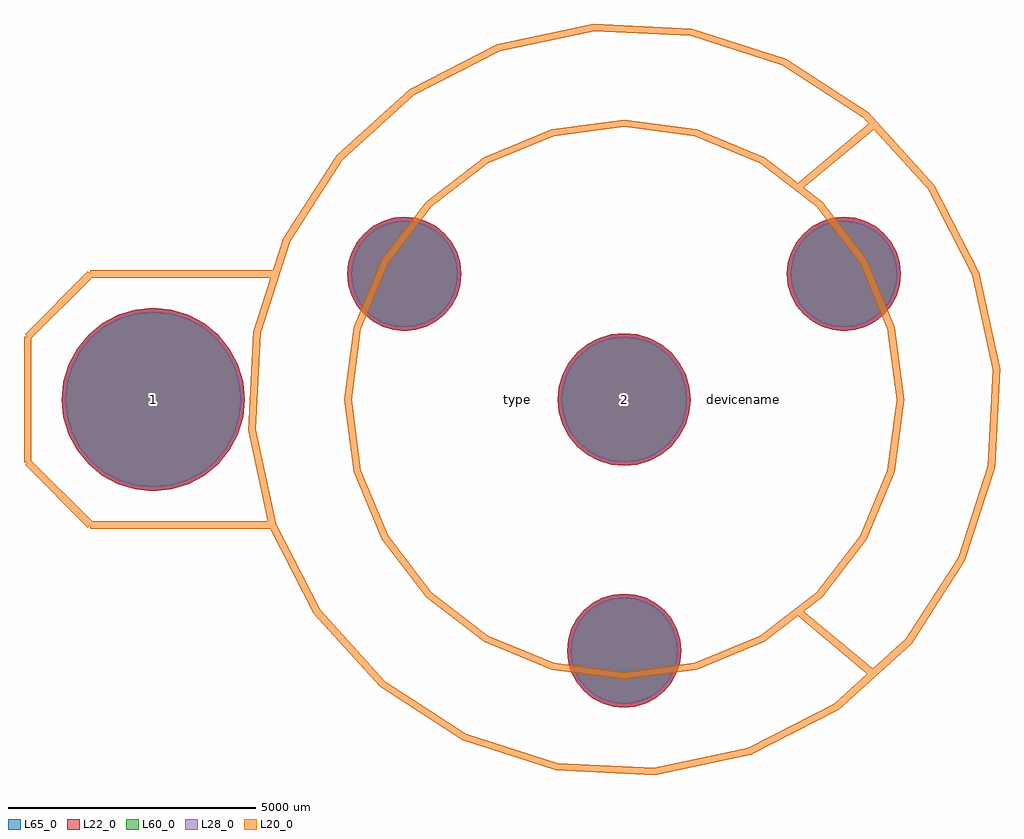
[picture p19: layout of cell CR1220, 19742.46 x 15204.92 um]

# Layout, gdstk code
import gdstk
lib = gdstk.Library(unit=1e-6, precision=1e-09)
def P(c, l, *ps):  # polygons
    for p in ps: c.add(gdstk.Polygon(p, *l))
L20_0 = (20, 0)
L22_0 = (22, 0)
L28_0 = (28, 0)
L60_0 = (60, 0)
L65_0 = (65, 0)

cr1220 = lib.new_cell('CR1220')
P(cr1220, L22_0, [(1154.5,2540),(1132.317,2765.232),(1066.619,2981.808),(959.932,3181.406),(816.355,3356.355),(641.406,3499.932),(441.808,3606.619),(225.232,3672.317),(0,3694.5),(-225.232,3672.317),(-441.808,3606.619),(-641.406,3499.932),(-816.355,3356.355),(-959.932,3181.406),(-1066.619,2981.808),(-1132.317,2765.232),(-1154.5,2540),(-1132.317,2314.768),(-1066.619,2098.192),(-959.932,1898.594),(-816.355,1723.645),(-641.406,1580.068),(-441.808,1473.381),(-225.232,1407.683),(0,1385.5),(225.232,1407.683),(441.808,1473.381),(641.406,1580.068),(816.355,1723.645),(959.932,1898.594),(1066.619,2098.192),(1132.317,2314.768)],
  [(10044.5,2540),(10022.317,2765.232),(9956.619,2981.808),(9849.932,3181.406),(9706.355,3356.355),(9531.406,3499.932),(9331.808,3606.619),(9115.232,3672.317),(8890,3694.5),(8664.768,3672.317),(8448.192,3606.619),(8248.594,3499.932),(8073.645,3356.355),(7930.068,3181.406),(7823.381,2981.808),(7757.683,2765.232),(7735.5,2540),(7757.683,2314.768),(7823.381,2098.192),(7930.068,1898.594),(8073.645,1723.645),(8248.594,1580.068),(8448.192,1473.381),(8664.768,1407.683),(8890,1385.5),(9115.232,1407.683),(9331.808,1473.381),(9531.406,1580.068),(9706.355,1723.645),(9849.932,1898.594),(9956.619,2098.192),(10022.317,2314.768)],
  [(5599.5,-5080),(5577.317,-4854.768),(5511.619,-4638.192),(5404.932,-4438.594),(5261.355,-4263.645),(5086.406,-4120.068),(4886.808,-4013.381),(4670.232,-3947.683),(4445,-3925.5),(4219.768,-3947.683),(4003.192,-4013.381),(3803.594,-4120.068),(3628.645,-4263.645),(3485.068,-4438.594),(3378.381,-4638.192),(3312.683,-4854.768),(3290.5,-5080),(3312.683,-5305.232),(3378.381,-5521.808),(3485.068,-5721.406),(3628.645,-5896.355),(3803.594,-6039.932),(4003.192,-6146.619),(4219.768,-6212.317),(4445,-6234.5),(4670.232,-6212.317),(4886.808,-6146.619),(5086.406,-6039.932),(5261.355,-5896.355),(5404.932,-5721.406),(5511.619,-5521.808),(5577.317,-5305.232)],
  [(5790,0),(5764.156,262.396),(5687.618,514.709),(5563.327,747.242),(5396.059,951.059),(5192.242,1118.327),(4959.709,1242.618),(4707.396,1319.156),(4445,1345),(4182.604,1319.156),(3930.291,1242.618),(3697.758,1118.327),(3493.941,951.059),(3326.673,747.242),(3202.382,514.709),(3125.844,262.396),(3100,0),(3125.844,-262.396),(3202.382,-514.709),(3326.673,-747.242),(3493.941,-951.059),(3697.758,-1118.327),(3930.291,-1242.618),(4182.604,-1319.156),(4445,-1345),(4707.396,-1319.156),(4959.709,-1242.618),(5192.242,-1118.327),(5396.059,-951.059),(5563.327,-747.242),(5687.618,-514.709),(5764.156,-262.396)],
  [(-3227,0),(-3262.605,361.502),(-3368.051,709.112),(-3539.287,1029.472),(-3769.731,1310.269),(-4050.528,1540.713),(-4370.888,1711.949),(-4718.498,1817.395),(-5080,1853),(-5441.502,1817.395),(-5789.112,1711.949),(-6109.472,1540.713),(-6390.269,1310.269),(-6620.713,1029.472),(-6791.949,709.112),(-6897.395,361.502),(-6933,0),(-6897.395,-361.502),(-6791.949,-709.112),(-6620.713,-1029.472),(-6390.269,-1310.269),(-6109.472,-1540.713),(-5789.112,-1711.949),(-5441.502,-1817.395),(-5080,-1853),(-4718.498,-1817.395),(-4370.888,-1711.949),(-4050.528,-1540.713),(-3769.731,-1310.269),(-3539.287,-1029.472),(-3368.051,-709.112),(-3262.605,-361.502)])
P(cr1220, L28_0, [(1079.5,2540),(1058.758,2750.6),(997.328,2953.107),(897.571,3139.738),(763.322,3303.322),(599.738,3437.571),(413.107,3537.328),(210.6,3598.758),(0,3619.5),(-210.6,3598.758),(-413.107,3537.328),(-599.738,3437.571),(-763.322,3303.322),(-897.571,3139.738),(-997.328,2953.107),(-1058.758,2750.6),(-1079.5,2540),(-1058.758,2329.4),(-997.328,2126.893),(-897.571,1940.262),(-763.322,1776.678),(-599.738,1642.429),(-413.107,1542.672),(-210.6,1481.242),(0,1460.5),(210.6,1481.242),(413.107,1542.672),(599.738,1642.429),(763.322,1776.678),(897.571,1940.262),(997.328,2126.893),(1058.758,2329.4)],
  [(9969.5,2540),(9948.758,2750.6),(9887.328,2953.107),(9787.571,3139.738),(9653.322,3303.322),(9489.738,3437.571),(9303.107,3537.328),(9100.6,3598.758),(8890,3619.5),(8679.4,3598.758),(8476.893,3537.328),(8290.262,3437.571),(8126.678,3303.322),(7992.429,3139.738),(7892.672,2953.107),(7831.242,2750.6),(7810.5,2540),(7831.242,2329.4),(7892.672,2126.893),(7992.429,1940.262),(8126.678,1776.678),(8290.262,1642.429),(8476.893,1542.672),(8679.4,1481.242),(8890,1460.5),(9100.6,1481.242),(9303.107,1542.672),(9489.738,1642.429),(9653.322,1776.678),(9787.571,1940.262),(9887.328,2126.893),(9948.758,2329.4)],
  [(5524.5,-5080),(5503.758,-4869.4),(5442.328,-4666.893),(5342.571,-4480.262),(5208.322,-4316.678),(5044.738,-4182.429),(4858.107,-4082.672),(4655.6,-4021.242),(4445,-4000.5),(4234.4,-4021.242),(4031.893,-4082.672),(3845.262,-4182.429),(3681.678,-4316.678),(3547.429,-4480.262),(3447.672,-4666.893),(3386.242,-4869.4),(3365.5,-5080),(3386.242,-5290.6),(3447.672,-5493.107),(3547.429,-5679.738),(3681.678,-5843.322),(3845.262,-5977.571),(4031.893,-6077.328),(4234.4,-6138.758),(4445,-6159.5),(4655.6,-6138.758),(4858.107,-6077.328),(5044.738,-5977.571),(5208.322,-5843.322),(5342.571,-5679.738),(5442.328,-5493.107),(5503.758,-5290.6)],
  [(5715,0),(5690.597,247.765),(5618.327,486.008),(5500.966,705.574),(5343.026,898.026),(5150.574,1055.966),(4931.008,1173.327),(4692.765,1245.597),(4445,1270),(4197.235,1245.597),(3958.992,1173.327),(3739.426,1055.966),(3546.974,898.026),(3389.034,705.574),(3271.673,486.008),(3199.403,247.765),(3175,0),(3199.403,-247.765),(3271.673,-486.008),(3389.034,-705.574),(3546.974,-898.026),(3739.426,-1055.966),(3958.992,-1173.327),(4197.235,-1245.597),(4445,-1270),(4692.765,-1245.597),(4931.008,-1173.327),(5150.574,-1055.966),(5343.026,-898.026),(5500.966,-705.574),(5618.327,-486.008),(5690.597,-247.765)],
  [(-3302,0),(-3336.164,346.871),(-3437.342,680.411),(-3601.647,987.804),(-3822.764,1257.236),(-4092.196,1478.353),(-4399.589,1642.658),(-4733.129,1743.836),(-5080,1778),(-5426.871,1743.836),(-5760.411,1642.658),(-6067.804,1478.353),(-6337.236,1257.236),(-6558.353,987.804),(-6722.658,680.411),(-6823.836,346.871),(-6858,0),(-6823.836,-346.871),(-6722.658,-680.411),(-6558.353,-987.804),(-6337.236,-1257.236),(-6067.804,-1478.353),(-5760.411,-1642.658),(-5426.871,-1743.836),(-5080,-1778),(-4733.129,-1743.836),(-4399.589,-1642.658),(-4092.196,-1478.353),(-3822.764,-1257.236),(-3601.647,-987.804),(-3437.342,-680.411),(-3336.164,-346.871)])
P(cr1220, L60_0, [(1079.5,2540),(1058.758,2750.6),(997.328,2953.107),(897.571,3139.738),(763.322,3303.322),(599.738,3437.571),(413.107,3537.328),(210.6,3598.758),(0,3619.5),(-210.6,3598.758),(-413.107,3537.328),(-599.738,3437.571),(-763.322,3303.322),(-897.571,3139.738),(-997.328,2953.107),(-1058.758,2750.6),(-1079.5,2540),(-1058.758,2329.4),(-997.328,2126.893),(-897.571,1940.262),(-763.322,1776.678),(-599.738,1642.429),(-413.107,1542.672),(-210.6,1481.242),(0,1460.5),(210.6,1481.242),(413.107,1542.672),(599.738,1642.429),(763.322,1776.678),(897.571,1940.262),(997.328,2126.893),(1058.758,2329.4)],
  [(9969.5,2540),(9948.758,2750.6),(9887.328,2953.107),(9787.571,3139.738),(9653.322,3303.322),(9489.738,3437.571),(9303.107,3537.328),(9100.6,3598.758),(8890,3619.5),(8679.4,3598.758),(8476.893,3537.328),(8290.262,3437.571),(8126.678,3303.322),(7992.429,3139.738),(7892.672,2953.107),(7831.242,2750.6),(7810.5,2540),(7831.242,2329.4),(7892.672,2126.893),(7992.429,1940.262),(8126.678,1776.678),(8290.262,1642.429),(8476.893,1542.672),(8679.4,1481.242),(8890,1460.5),(9100.6,1481.242),(9303.107,1542.672),(9489.738,1642.429),(9653.322,1776.678),(9787.571,1940.262),(9887.328,2126.893),(9948.758,2329.4)],
  [(5524.5,-5080),(5503.758,-4869.4),(5442.328,-4666.893),(5342.571,-4480.262),(5208.322,-4316.678),(5044.738,-4182.429),(4858.107,-4082.672),(4655.6,-4021.242),(4445,-4000.5),(4234.4,-4021.242),(4031.893,-4082.672),(3845.262,-4182.429),(3681.678,-4316.678),(3547.429,-4480.262),(3447.672,-4666.893),(3386.242,-4869.4),(3365.5,-5080),(3386.242,-5290.6),(3447.672,-5493.107),(3547.429,-5679.738),(3681.678,-5843.322),(3845.262,-5977.571),(4031.893,-6077.328),(4234.4,-6138.758),(4445,-6159.5),(4655.6,-6138.758),(4858.107,-6077.328),(5044.738,-5977.571),(5208.322,-5843.322),(5342.571,-5679.738),(5442.328,-5493.107),(5503.758,-5290.6)],
  [(5715,0),(5690.597,247.765),(5618.327,486.008),(5500.966,705.574),(5343.026,898.026),(5150.574,1055.966),(4931.008,1173.327),(4692.765,1245.597),(4445,1270),(4197.235,1245.597),(3958.992,1173.327),(3739.426,1055.966),(3546.974,898.026),(3389.034,705.574),(3271.673,486.008),(3199.403,247.765),(3175,0),(3199.403,-247.765),(3271.673,-486.008),(3389.034,-705.574),(3546.974,-898.026),(3739.426,-1055.966),(3958.992,-1173.327),(4197.235,-1245.597),(4445,-1270),(4692.765,-1245.597),(4931.008,-1173.327),(5150.574,-1055.966),(5343.026,-898.026),(5500.966,-705.574),(5618.327,-486.008),(5690.597,-247.765)],
  [(-3302,0),(-3336.164,346.871),(-3437.342,680.411),(-3601.647,987.804),(-3822.764,1257.236),(-4092.196,1478.353),(-4399.589,1642.658),(-4733.129,1743.836),(-5080,1778),(-5426.871,1743.836),(-5760.411,1642.658),(-6067.804,1478.353),(-6337.236,1257.236),(-6558.353,987.804),(-6722.658,680.411),(-6823.836,346.871),(-6858,0),(-6823.836,-346.871),(-6722.658,-680.411),(-6558.353,-987.804),(-6337.236,-1257.236),(-6067.804,-1478.353),(-5760.411,-1642.658),(-5426.871,-1743.836),(-5080,-1778),(-4733.129,-1743.836),(-4399.589,-1642.658),(-4092.196,-1478.353),(-3822.764,-1257.236),(-3601.647,-987.804),(-3437.342,-680.411),(-3336.164,-346.871)])
P(cr1220, L65_0, [(1154.5,2540),(1132.317,2765.232),(1066.619,2981.808),(959.932,3181.406),(816.355,3356.355),(641.406,3499.932),(441.808,3606.619),(225.232,3672.317),(0,3694.5),(-225.232,3672.317),(-441.808,3606.619),(-641.406,3499.932),(-816.355,3356.355),(-959.932,3181.406),(-1066.619,2981.808),(-1132.317,2765.232),(-1154.5,2540),(-1132.317,2314.768),(-1066.619,2098.192),(-959.932,1898.594),(-816.355,1723.645),(-641.406,1580.068),(-441.808,1473.381),(-225.232,1407.683),(0,1385.5),(225.232,1407.683),(441.808,1473.381),(641.406,1580.068),(816.355,1723.645),(959.932,1898.594),(1066.619,2098.192),(1132.317,2314.768)],
  [(10044.5,2540),(10022.317,2765.232),(9956.619,2981.808),(9849.932,3181.406),(9706.355,3356.355),(9531.406,3499.932),(9331.808,3606.619),(9115.232,3672.317),(8890,3694.5),(8664.768,3672.317),(8448.192,3606.619),(8248.594,3499.932),(8073.645,3356.355),(7930.068,3181.406),(7823.381,2981.808),(7757.683,2765.232),(7735.5,2540),(7757.683,2314.768),(7823.381,2098.192),(7930.068,1898.594),(8073.645,1723.645),(8248.594,1580.068),(8448.192,1473.381),(8664.768,1407.683),(8890,1385.5),(9115.232,1407.683),(9331.808,1473.381),(9531.406,1580.068),(9706.355,1723.645),(9849.932,1898.594),(9956.619,2098.192),(10022.317,2314.768)],
  [(5599.5,-5080),(5577.317,-4854.768),(5511.619,-4638.192),(5404.932,-4438.594),(5261.355,-4263.645),(5086.406,-4120.068),(4886.808,-4013.381),(4670.232,-3947.683),(4445,-3925.5),(4219.768,-3947.683),(4003.192,-4013.381),(3803.594,-4120.068),(3628.645,-4263.645),(3485.068,-4438.594),(3378.381,-4638.192),(3312.683,-4854.768),(3290.5,-5080),(3312.683,-5305.232),(3378.381,-5521.808),(3485.068,-5721.406),(3628.645,-5896.355),(3803.594,-6039.932),(4003.192,-6146.619),(4219.768,-6212.317),(4445,-6234.5),(4670.232,-6212.317),(4886.808,-6146.619),(5086.406,-6039.932),(5261.355,-5896.355),(5404.932,-5721.406),(5511.619,-5521.808),(5577.317,-5305.232)],
  [(5790,0),(5764.156,262.396),(5687.618,514.709),(5563.327,747.242),(5396.059,951.059),(5192.242,1118.327),(4959.709,1242.618),(4707.396,1319.156),(4445,1345),(4182.604,1319.156),(3930.291,1242.618),(3697.758,1118.327),(3493.941,951.059),(3326.673,747.242),(3202.382,514.709),(3125.844,262.396),(3100,0),(3125.844,-262.396),(3202.382,-514.709),(3326.673,-747.242),(3493.941,-951.059),(3697.758,-1118.327),(3930.291,-1242.618),(4182.604,-1319.156),(4445,-1345),(4707.396,-1319.156),(4959.709,-1242.618),(5192.242,-1118.327),(5396.059,-951.059),(5563.327,-747.242),(5687.618,-514.709),(5764.156,-262.396)],
  [(-3227,0),(-3262.605,361.502),(-3368.051,709.112),(-3539.287,1029.472),(-3769.731,1310.269),(-4050.528,1540.713),(-4370.888,1711.949),(-4718.498,1817.395),(-5080,1853),(-5441.502,1817.395),(-5789.112,1711.949),(-6109.472,1540.713),(-6390.269,1310.269),(-6620.713,1029.472),(-6791.949,709.112),(-6897.395,361.502),(-6933,0),(-6897.395,-361.502),(-6791.949,-709.112),(-6620.713,-1029.472),(-6390.269,-1310.269),(-6109.472,-1540.713),(-5789.112,-1711.949),(-5441.502,-1817.395),(-5080,-1853),(-4718.498,-1817.395),(-4370.888,-1711.949),(-4050.528,-1540.713),(-3769.731,-1310.269),(-3539.287,-1029.472),(-3368.051,-709.112),(-3262.605,-361.502)])
cr1220.add(gdstk.FlexPath([(-2667,-2540),(-1767.264,-4294.173),(-444.173,-5755.705),(1212.108,-6824.995),(3088.705,-7429.173),(5057.731,-7527.065),(6985,-7112),(8739.173,-6212.264),(10200.705,-4889.173),(11269.995,-3232.892),(11874.173,-1356.295),(11972.065,612.731),(11557,2540),(10657.264,4294.173),(9334.173,5755.705),(7677.892,6824.995),(5801.295,7429.173),(3832.269,7527.065),(1905,7112),(150.827,6212.264),(-1310.705,4889.173),(-2379.995,3232.892),(-2984.173,1356.295),(-3082.065,-612.731),(-2667,-2540)], 149.998, ends="flush", simple_path=True, layer=20, datatype=0))  # L20_0
cr1220.add(gdstk.FlexPath([(-1143,0),(-952.594,-1446.281),(-394.35,-2794),(493.687,-3951.313),(1651,-4839.35),(2998.719,-5397.594),(4445,-5588),(5891.281,-5397.594),(7239,-4839.35),(8396.313,-3951.313),(9284.35,-2794),(9842.594,-1446.281),(10033,0),(9842.594,1446.281),(9284.35,2794),(8396.313,3951.313),(7239,4839.35),(5891.281,5397.594),(4445,5588),(2998.719,5397.594),(1651,4839.35),(493.687,3951.313),(-394.35,2794),(-952.594,1446.281),(-1143,0)], 149.998, ends="flush", simple_path=True, layer=20, datatype=0))  # L20_0
cr1220.add(gdstk.FlexPath([(8001,-4318),(9525,-5588)], 149.998, ends="flush", simple_path=True, layer=20, datatype=0))  # L20_0
cr1220.add(gdstk.FlexPath([(8001,4318),(9525,5588)], 149.998, ends="flush", simple_path=True, layer=20, datatype=0))  # L20_0
cr1220.add(gdstk.FlexPath([(-7620,1270),(-6350,2540)], 149.998, ends="flush", simple_path=True, layer=20, datatype=0))  # L20_0
cr1220.add(gdstk.FlexPath([(-7620,-1270),(-7620,1270)], 149.998, ends="flush", simple_path=True, layer=20, datatype=0))  # L20_0
cr1220.add(gdstk.FlexPath([(-6350,-2540),(-7620,-1270)], 149.998, ends="flush", simple_path=True, layer=20, datatype=0))  # L20_0
cr1220.add(gdstk.FlexPath([(-6350,2540),(-2667,2540)], 149.998, ends="flush", simple_path=True, layer=20, datatype=0))  # L20_0
cr1220.add(gdstk.FlexPath([(-6350,-2540),(-2667,-2540)], 149.998, ends="flush", simple_path=True, layer=20, datatype=0))  # L20_0
cr1220.add(gdstk.Label('2', (4445,0), layer=28, texttype=0))
cr1220.add(gdstk.Label('1', (-5080,0), layer=28, texttype=0))
cr1220.add(gdstk.Label('type', (2286,0), layer=9, texttype=0))
cr1220.add(gdstk.Label('devicename', (6858,0), layer=9, texttype=0))

lib.write_gds('CR1220.gds')
